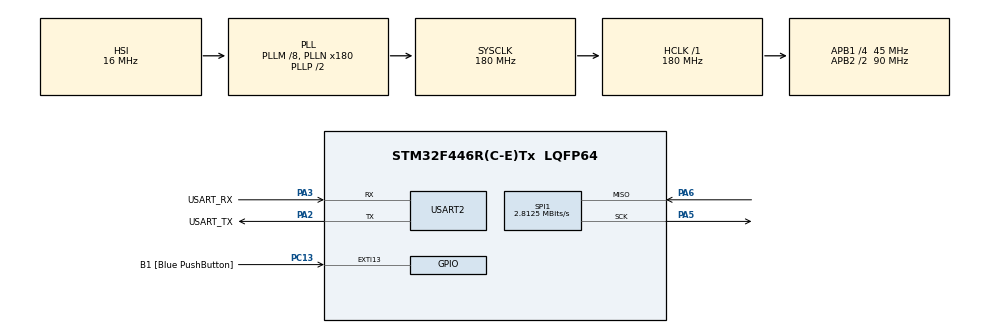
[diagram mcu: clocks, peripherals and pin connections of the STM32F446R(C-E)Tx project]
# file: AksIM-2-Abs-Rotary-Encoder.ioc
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Mcu.Family=STM32F4
Mcu.Name=STM32F446R(C-E)Tx
Mcu.Package=LQFP64
NVIC.PriorityGroup=NVIC_PRIORITYGROUP_0
NVIC.SPI1_IRQn=true\:0\:0\:false\:false\:true\:true\:true\:true
NVIC.TIM2_IRQn=true\:0\:0\:false\:false\:true\:true\:true\:true
NVIC.USART2_IRQn=true\:0\:0\:false\:false\:true\:true\:true\:true
PA13.GPIO_Label=TMS
PA13.Signal=SYS_JTMS-SWDIO
PA14.GPIO_Label=TCK
PA14.Signal=SYS_JTCK-SWCLK
PA2.GPIO_Label=USART_TX
PA2.Mode=Asynchronous
PA2.Signal=USART2_TX
PA3.GPIO_Label=USART_RX
PA3.Mode=Asynchronous
PA3.Signal=USART2_RX
PA5.Mode=RX_Only_Simplex_Unidirect_Master
PA5.Signal=SPI1_SCK
PA6.Mode=RX_Only_Simplex_Unidirect_Master
PA6.Signal=SPI1_MISO
PB3.GPIO_Label=SWO
PB3.Signal=SYS_JTDO-SWO
PC13.GPIO_Label=B1 [Blue PushButton]
PC13.GPIO_ModeDefaultEXTI=GPIO_MODE_IT_FALLING
PC13.Signal=GPXTI13
PC14-OSC32_IN.Signal=RCC_OSC32_IN
PC15-OSC32_OUT.Signal=RCC_OSC32_OUT
PH0-OSC_IN.Signal=RCC_OSC_IN
PH1-OSC_OUT.Signal=RCC_OSC_OUT
ProjectManager.HeapSize=0x200
ProjectManager.StackSize=0x400
ProjectManager.TargetToolchain=Makefile
RCC.AHBFreq_Value=180000000
RCC.APB1CLKDivider=RCC_HCLK_DIV4
RCC.APB1Freq_Value=45000000
RCC.APB1TimFreq_Value=90000000
RCC.APB2CLKDivider=RCC_HCLK_DIV2
RCC.APB2Freq_Value=90000000
RCC.APB2TimFreq_Value=180000000
RCC.CortexFreq_Value=180000000
RCC.FLatency-AdvancedSettings=FLASH_LATENCY_5
RCC.HCLKFreq_Value=180000000
RCC.HSE_VALUE=8000000
RCC.HSI_VALUE=16000000
RCC.LSE_VALUE=32768
RCC.PLLM=8
RCC.PLLN=180
RCC.SYSCLKFreq_VALUE=180000000
RCC.SYSCLKSource=RCC_SYSCLKSOURCE_PLLCLK
RCC.USBFreq_Value=180000000
RCC.VCOOutputFreq_Value=360000000
SPI1.BaudRatePrescaler=SPI_BAUDRATEPRESCALER_32
SPI1.CLKPhase=SPI_PHASE_2EDGE
SPI1.CLKPolarity=SPI_POLARITY_HIGH
SPI1.CalculateBaudRate=2.8125 MBits/s
SPI1.Direction=SPI_DIRECTION_2LINES_RXONLY
SPI1.Mode=SPI_MODE_MASTER
SPI1.VirtualType=VM_MASTER
TIM2.Period=200-1
TIM2.Prescaler=8000-1
USART2.Parity=PARITY_EVEN
USART2.VirtualMode=VM_ASYNC
VP_TIM2_VS_ClockSourceINT.Mode=Internal
board=NUCLEO-F446RE

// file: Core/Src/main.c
/* USER CODE BEGIN Header */
/**
  ******************************************************************************
  * @file           : main.c
  * @brief          : Main program body
  ******************************************************************************
  * @attention
  *
  * Copyright (c) 2023 STMicroelectronics.
  * All rights reserved.
  *
  * This software is licensed under terms that can be found in the LICENSE file
  * in the root directory of this software component.
  * If no LICENSE file comes with this software, it is provided AS-IS.
  *
  ******************************************************************************
  */
/* USER CODE END Header */
#include "main.h"

/* USER CODE BEGIN Includes */
#include <stdio.h>
/* USER CODE END Includes */

SPI_HandleTypeDef hspi1;

TIM_HandleTypeDef htim2;

UART_HandleTypeDef huart2;

void SystemClock_Config(void);
static void MX_GPIO_Init(void);
static void MX_SPI1_Init(void);
static void MX_USART2_UART_Init(void);
static void MX_TIM2_Init(void);
/* USER CODE BEGIN PFP */
uint8_t encoderDataStateMachine(uint64_t encoderPacket);
/* USER CODE END PFP */

/* USER CODE BEGIN 0 */
uint8_t buffer[50];

#define ENCODER_POS_LENGTH 18
#define RX_DATA_LENGTH 7
uint8_t RxData[RX_DATA_LENGTH];
uint8_t updateOffset = 1;
uint8_t encDataOffset = 0;
uint8_t printBits = 0;
uint32_t encPosition = 0;
uint8_t encStatus = 0;
uint8_t encCRC = 0;
uint32_t CRCMessage;

uint8_t CRCTable[64] = { 0x00, 0x03, 0x06, 0x05, 0x0C, 0x0F, 0x0A, 0x09,
                            0x18, 0x1B, 0x1E, 0x1D, 0x14, 0x17, 0x12, 0x11,
                            0x30, 0x33, 0x36, 0x35, 0x3C, 0x3F, 0x3A, 0x39,
                            0x28, 0x2B, 0x2E, 0x2D, 0x24, 0x27, 0x22, 0x21,
                            0x23, 0x20, 0x25, 0x26, 0x2F, 0x2C, 0x29, 0x2A,
                            0x3B, 0x38, 0x3D, 0x3E, 0x37, 0x34, 0x31, 0x32,
                            0x13, 0x10, 0x15, 0x16, 0x1F, 0x1C, 0x19, 0x1A,
                            0x0B, 0x08, 0x0D, 0x0E, 0x07, 0x04, 0x01, 0x02
                            };

uint8_t calculateCRC(uint32_t data)
{
    uint8_t CRCValue = 0;
    uint32_t top = 0;

    // Unrolled version from RLS application note
    top = (data >> 30) & 0x00000003;
    CRCValue = (data >> 24) & 0x0000003F;
    top = CRCValue ^ CRCTable[top];
    CRCValue = (data >> 18) & 0x0000003F;
    top = CRCValue ^ CRCTable[top];
    CRCValue = (data >> 12) & 0x0000003F;
    top = CRCValue ^ CRCTable[top];
    CRCValue = (data >> 6) & 0x0000003F;
    top = CRCValue ^ CRCTable[top];
    CRCValue = data & 0x0000003F;
    top = CRCValue ^ CRCTable[top];
    CRCValue = CRCTable[top];

    return CRCTable[top];
}

// Pre-sequence = leading zeroes, two 1's, ACK bits, the start bit (1), and the CDS bit (0).
// The length of this sequence can vary depending on the baud rate and implementation, so it's important to compensate for it
uint8_t encoderDataStateMachine(uint64_t encoderPacket)
{
  uint8_t state = 0;
  uint8_t currentBit = 0;
  uint8_t preSequenceLength = 0;
  const uint64_t LSB_MASK = 0x01;
  for(int i = 1; i <= 64; i++)
  {
    currentBit = (encoderPacket >> (64 - i)) & LSB_MASK;

    switch(state)
    {
      case 0:
        if(currentBit)
        {
          state = 1;
        }
        break;
      case 1:
        if(currentBit)
        {
          state = 2;
        }
        break;
      case 2:
        if(!currentBit)
        {
          state = 3;
        }
        break;
      case 3:
        if(currentBit)
        {
          state = 4;
        }
        break;
      case 4:
        if(!currentBit)
        {
          // End of pre-sequence reached!
          preSequenceLength = i;
          return preSequenceLength;
        }
        else
        {
          state = 0;
        }
        break;
    }
  }
}

void HAL_SPI_RxCpltCallback(SPI_HandleTypeDef *hspi)
{
  // Position data is stored in RxData indices 3-5, MSB first
  // The >> 6 (or - 6 for the <<'s) is to compensate for the result being aligned to bit 23 instead of bit 17
  // The + 1 accommodates for the data being shifted in the individual packets
  // This is an 18-bit encoder, so it should output values in [0, 2^18 - 1]
  // encPosition = ((uint32_t) RxData[3]) << (16 + 1 - 6);
  // encPosition += ((uint32_t) RxData[4]) << (8 + 1 - 6);
  // // LSBs of position are stored in the upper three bits of RxData[5], so we mask out everything else
  // encPosition += (RxData[5] & 0xE0) >> 5;

  // encStatus = (RxData[5] & 0x18) >> 3;

  // encCRC = (RxData[5] & 0x07) << 3;
  // encCRC += (RxData[6] & 0xE0) >> 5;
  // // crc = ~crc;

  // Pack each byte of RxData into 64-bit int for easier parsing in state machine
  uint64_t encoderPacket = 0;
  for(int i = 0; i < RX_DATA_LENGTH; i++)
  {
    encoderPacket += RxData[i];
    encoderPacket <<= 8;
  }

  // Use state machine to get each field
  // TODO: Only perform once at startup. This value shouldn't change at runtime.
  encDataOffset = 38 - encoderDataStateMachine(encoderPacket);

  encoderPacket >>= encDataOffset;

  // Extract each field from right-aligned data
  encPosition = (encoderPacket & 0x03FFFF00) >> 8;
  encStatus = (encoderPacket & 0x000000C0) >> 6;
  encCRC = (encoderPacket & 0x0000003F);

  CRCMessage = (uint32_t)(encStatus) << 28;
  CRCMessage += encPosition;
  CRCMessage <<= 2;

  sprintf(buffer, "%0X %d 0x%02X 0x%02X %s %d\n", encPosition, encStatus, encCRC, calculateCRC(CRCMessage), (calculateCRC(CRCMessage) == encCRC) ? "CRC MATCHED" : "CRC MISMATCH", encDataOffset);
  if(HAL_UART_Transmit(&huart2, buffer, sizeof(buffer), 100) != HAL_OK)
  {
    Error_Handler();
  }
  if(printBits)
    {
      for(int i = 0; i < RX_DATA_LENGTH; i++)
      {
        // Print each bit of message received
        uint8_t mask = 0x80;
        for(int j = 0; j < 8; j++)
        {
          if(RxData[i] & mask)
          {
            if(HAL_UART_Transmit(&huart2, "1", 2, 100) != HAL_OK)
            {
              Error_Handler();
            }
          }
          else
          {
            if(HAL_UART_Transmit(&huart2, "0", 2, 100) != HAL_OK)
            {
              Error_Handler();
            }
          }

          // Space into groups of 4 bits
          if(j % 4 == 3)
          {
            if(HAL_UART_Transmit(&huart2, " ", 2, 100) != HAL_OK)
            {
              Error_Handler();
            }
          }

          mask = mask >> 1;
        }

        if(HAL_UART_Transmit(&huart2, " | ", 4, 100) != HAL_OK)
        {
          Error_Handler();
        }
      }

      if(HAL_UART_Transmit(&huart2, "\n", 2, 100) != HAL_OK)
      {
        Error_Handler();
      }
    }
}

void HAL_TIM_PeriodElapsedCallback(TIM_HandleTypeDef *htim)
{
  if(htim == &htim2)
  {
      HAL_SPI_Receive_IT(&hspi1, &RxData[0], RX_DATA_LENGTH);
  }
}

/* USER CODE END 0 */

int main(void)
{

  /* MCU Configuration--------------------------------------------------------*/

  /* Reset of all peripherals, Initializes the Flash interface and the Systick. */
  HAL_Init();

  /* Configure the system clock */
  SystemClock_Config();

  /* Initialize all configured peripherals */
  MX_GPIO_Init();
  MX_SPI1_Init();
  MX_USART2_UART_Init();
  MX_TIM2_Init();
  /* USER CODE BEGIN 2 */

  HAL_TIM_Base_Start_IT(&htim2);
  /* USER CODE END 2 */

  /* Infinite loop */
  while (1)
  {

    /* USER CODE BEGIN 3 */
    // HAL_SPI_Receive_IT(&hspi1, &RxData[0], RX_DATA_LENGTH);

    // if(dataReady)
    // {
    //   dataReady = 0;

    //   // // Convert 18 bit position info to 32 bit integer
    //   // position = ((uint32_t) RxData[3]) << (17 - 6);
    //   // position += ((uint32_t) RxData[4]) << (9 - 6);
    //   // position += (RxData[5] & 0xC0) >> 6;

    //   // sprintf(buffer, "%ld\n", position);

    //   for(int i = 0; i < RX_DATA_LENGTH; i++)
    //   {
    //     // if(HAL_UART_Transmit(&huart2, &(RxData[i]), 1, 100) != HAL_OK)
    //     // {
    //     //   Error_Handler();
    //     // }
    //     // Print each bit of message received
    //     uint8_t mask = 0x80;
    //     for(int j = 0; j < 8; j++)
    //     {
    //       if(RxData[i] & mask)
    //       {
    //         if(HAL_UART_Transmit(&huart2, "1", 2, 100) != HAL_OK)
    //         {
    //           Error_Handler();
    //         }
    //       }
    //       else
    //       {
    //         if(HAL_UART_Transmit(&huart2, "0", 2, 100) != HAL_OK)
    //         {
    //           Error_Handler();
    //         }
    //       }

    //       // Space into groups of 4 bits
    //       if(j % 4 == 3)
    //       {
    //         if(HAL_UART_Transmit(&huart2, " ", 2, 100) != HAL_OK)
    //         {
    //           Error_Handler();
    //         }
    //       }

    //       mask = mask >> 1;
    //     }

    //     if(HAL_UART_Transmit(&huart2, " | ", 4, 100) != HAL_OK)
    //     {
    //       Error_Handler();
    //     }
    //   }

    //   // if(HAL_UART_Transmit(&huart2, buffer, sizeof(buffer), 100) != HAL_OK)
    //   // {
    //   //   Error_Handler();
    //   // }

    //   if(HAL_UART_Transmit(&huart2, "\n", 2, 100) != HAL_OK)
    //   {
    //     Error_Handler();
    //   }
    // }

    // HAL_Delay(20);
  }
  /* USER CODE END 3 */
}

void SystemClock_Config(void)
{
  RCC_OscInitTypeDef RCC_OscInitStruct = {0};
  RCC_ClkInitTypeDef RCC_ClkInitStruct = {0};

  /** Configure the main internal regulator output voltage
  */
  __HAL_RCC_PWR_CLK_ENABLE();
  __HAL_PWR_VOLTAGESCALING_CONFIG(PWR_REGULATOR_VOLTAGE_SCALE1);
  /** Initializes the RCC Oscillators according to the specified parameters
  * in the RCC_OscInitTypeDef structure.
  */
  RCC_OscInitStruct.OscillatorType = RCC_OSCILLATORTYPE_HSI;
  RCC_OscInitStruct.HSIState = RCC_HSI_ON;
  RCC_OscInitStruct.HSICalibrationValue = RCC_HSICALIBRATION_DEFAULT;
  RCC_OscInitStruct.PLL.PLLState = RCC_PLL_ON;
  RCC_OscInitStruct.PLL.PLLSource = RCC_PLLSOURCE_HSI;
  RCC_OscInitStruct.PLL.PLLM = 8;
  RCC_OscInitStruct.PLL.PLLN = 180;
  RCC_OscInitStruct.PLL.PLLP = RCC_PLLP_DIV2;
  RCC_OscInitStruct.PLL.PLLQ = 2;
  RCC_OscInitStruct.PLL.PLLR = 2;
  if (HAL_RCC_OscConfig(&RCC_OscInitStruct) != HAL_OK)
  {
    Error_Handler();
  }
  /** Activate the Over-Drive mode
  */
  if (HAL_PWREx_EnableOverDrive() != HAL_OK)
  {
    Error_Handler();
  }
  /** Initializes the CPU, AHB and APB buses clocks
  */
  RCC_ClkInitStruct.ClockType = RCC_CLOCKTYPE_HCLK|RCC_CLOCKTYPE_SYSCLK
                              |RCC_CLOCKTYPE_PCLK1|RCC_CLOCKTYPE_PCLK2;
  RCC_ClkInitStruct.SYSCLKSource = RCC_SYSCLKSOURCE_PLLCLK;
  RCC_ClkInitStruct.AHBCLKDivider = RCC_SYSCLK_DIV1;
  RCC_ClkInitStruct.APB1CLKDivider = RCC_HCLK_DIV4;
  RCC_ClkInitStruct.APB2CLKDivider = RCC_HCLK_DIV2;

  if (HAL_RCC_ClockConfig(&RCC_ClkInitStruct, FLASH_LATENCY_5) != HAL_OK)
  {
    Error_Handler();
  }
}

static void MX_SPI1_Init(void)
{

  /* SPI1 parameter configuration*/
  hspi1.Instance = SPI1;
  hspi1.Init.Mode = SPI_MODE_MASTER;
  hspi1.Init.Direction = SPI_DIRECTION_2LINES_RXONLY;
  hspi1.Init.DataSize = SPI_DATASIZE_8BIT;
  hspi1.Init.CLKPolarity = SPI_POLARITY_HIGH;
  hspi1.Init.CLKPhase = SPI_PHASE_2EDGE;
  hspi1.Init.NSS = SPI_NSS_SOFT;
  hspi1.Init.BaudRatePrescaler = SPI_BAUDRATEPRESCALER_32;
  hspi1.Init.FirstBit = SPI_FIRSTBIT_MSB;
  hspi1.Init.TIMode = SPI_TIMODE_DISABLE;
  hspi1.Init.CRCCalculation = SPI_CRCCALCULATION_DISABLE;
  hspi1.Init.CRCPolynomial = 10;
  if (HAL_SPI_Init(&hspi1) != HAL_OK)
  {
    Error_Handler();
  }

}

static void MX_TIM2_Init(void)
{

  TIM_ClockConfigTypeDef sClockSourceConfig = {0};
  TIM_MasterConfigTypeDef sMasterConfig = {0};

  htim2.Instance = TIM2;
  htim2.Init.Prescaler = 8000-1;
  htim2.Init.CounterMode = TIM_COUNTERMODE_UP;
  htim2.Init.Period = 200-1;
  htim2.Init.ClockDivision = TIM_CLOCKDIVISION_DIV1;
  htim2.Init.AutoReloadPreload = TIM_AUTORELOAD_PRELOAD_DISABLE;
  if (HAL_TIM_Base_Init(&htim2) != HAL_OK)
  {
    Error_Handler();
  }
  sClockSourceConfig.ClockSource = TIM_CLOCKSOURCE_INTERNAL;
  if (HAL_TIM_ConfigClockSource(&htim2, &sClockSourceConfig) != HAL_OK)
  {
    Error_Handler();
  }
  sMasterConfig.MasterOutputTrigger = TIM_TRGO_RESET;
  sMasterConfig.MasterSlaveMode = TIM_MASTERSLAVEMODE_DISABLE;
  if (HAL_TIMEx_MasterConfigSynchronization(&htim2, &sMasterConfig) != HAL_OK)
  {
    Error_Handler();
  }

}

static void MX_USART2_UART_Init(void)
{

  huart2.Instance = USART2;
  huart2.Init.BaudRate = 115200;
  huart2.Init.WordLength = UART_WORDLENGTH_8B;
  huart2.Init.StopBits = UART_STOPBITS_1;
  huart2.Init.Parity = UART_PARITY_EVEN;
  huart2.Init.Mode = UART_MODE_TX_RX;
  huart2.Init.HwFlowCtl = UART_HWCONTROL_NONE;
  huart2.Init.OverSampling = UART_OVERSAMPLING_16;
  if (HAL_UART_Init(&huart2) != HAL_OK)
  {
    Error_Handler();
  }

}

static void MX_GPIO_Init(void)
{
  GPIO_InitTypeDef GPIO_InitStruct = {0};

  /* GPIO Ports Clock Enable */
  __HAL_RCC_GPIOC_CLK_ENABLE();
  __HAL_RCC_GPIOH_CLK_ENABLE();
  __HAL_RCC_GPIOA_CLK_ENABLE();
  __HAL_RCC_GPIOB_CLK_ENABLE();

  /*Configure GPIO pin : B1_Pin */
  GPIO_InitStruct.Pin = B1_Pin;
  GPIO_InitStruct.Mode = GPIO_MODE_IT_FALLING;
  GPIO_InitStruct.Pull = GPIO_NOPULL;
  HAL_GPIO_Init(B1_GPIO_Port, &GPIO_InitStruct);

}

void Error_Handler(void)
{
  __disable_irq();
  while (1)
  {
  }
}
